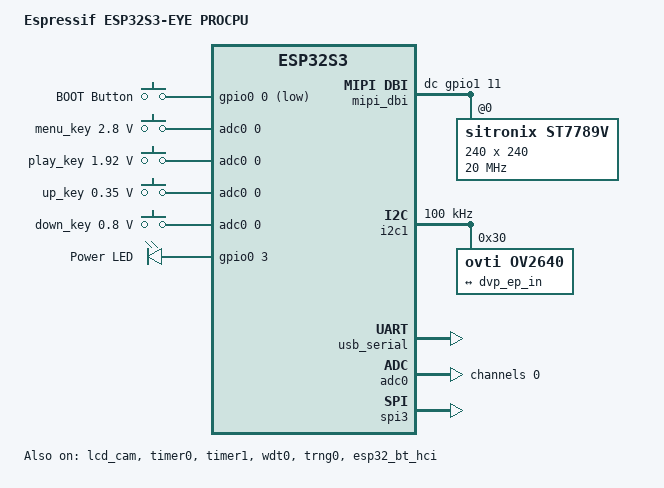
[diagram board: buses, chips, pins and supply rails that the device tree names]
/*
 * Copyright (c) 2024 Espressif Systems (Shanghai) Co., Ltd.
 *
 * SPDX-License-Identifier: Apache-2.0
 */
/dts-v1/;

#include "espressif/esp32s3/esp32s3_wroom_n8r8.dtsi"
#include "esp32s3_eye-pinctrl.dtsi"
#include <zephyr/dt-bindings/input/input-event-codes.h>
#include <zephyr/dt-bindings/input/esp32-touch-sensor-input.h>
#include <zephyr/dt-bindings/mipi_dbi/mipi_dbi.h>
#include <espressif/partitions_0x0_amp.dtsi>

/ {
	model = "Espressif ESP32S3-EYE PROCPU";
	compatible = "espressif,esp32s3";

	aliases {
		i2c-0 = &i2c0;
		watchdog0 = &wdt0;
		sw0 = &button0;
		led0 = &green_led;
	};

	chosen {
		zephyr,sram = &sram0;
		zephyr,console = &usb_serial;
		zephyr,shell-uart = &usb_serial;
		zephyr,flash = &flash0;
		zephyr,code-partition = &slot0_partition;
		zephyr,bt-hci = &esp32_bt_hci;
		zephyr,display = &st7789v;
		zephyr,camera = &lcd_cam;
	};

	buttons {
		compatible = "gpio-keys";
		button0: button_0 {
			gpios = <&gpio0 0 (GPIO_PULL_UP | GPIO_ACTIVE_LOW)>;
			label = "BOOT Button";
			zephyr,code = <INPUT_KEY_0>;
		};
	};

	adc-keys {
		compatible = "adc-keys";
		io-channels = <&adc0 0>;
		keyup-threshold-mv = <3300>;
		sample-period-ms = <50>;

		menu_key {
			press-thresholds-mv = <2800>;
			zephyr,code = <INPUT_KEY_MENU>;
		};

		play_key {
			press-thresholds-mv = <1920>;
			zephyr,code = <INPUT_KEY_PLAY>;
		};

		up_key {
			press-thresholds-mv = <350>;
			zephyr,code = <INPUT_KEY_UP>;
		};

		down_key {
			press-thresholds-mv = <800>;
			zephyr,code = <INPUT_KEY_DOWN>;
		};
	};

	leds {
		compatible = "gpio-leds";
		green_led: led0 {
			gpios =  <&gpio0 3 GPIO_OPEN_DRAIN>;
			label = "Power LED";
		};
	};

	mipi_dbi {
		compatible = "zephyr,mipi-dbi-spi";
		dc-gpios = <&gpio1 11 GPIO_ACTIVE_HIGH>;
		spi-dev = <&spi3>;
		write-only;
		#address-cells = <1>;
		#size-cells = <0>;

		st7789v: st7789v@0 {
			compatible = "sitronix,st7789v";
			mipi-max-frequency = <20000000>;
			reg = <0>;
			width = <240>;
			height = <240>;
			x-offset = <0>;
			y-offset = <0>;
			vcom = <0x19>;
			gctrl = <0x35>;
			vrhs = <0x12>;
			vdvs = <0x20>;
			mdac = <0x00>;
			gamma = <0x01>;
			colmod = <0x55>;
			lcm = <0x2c>;
			porch-param = [0c 0c 00 33 33];
			cmd2en-param = [5a 69 02 01];
			pwctrl1-param = [a4 a1];
			pvgam-param = [D0 04 0D 11 13 2B 3F 54 4C 18 0D 0B 1F 23];
			nvgam-param = [D0 04 0C 11 13 2C 3F 44 51 2F 1F 1F 20 23];
			ram-param = [00 F0];
			rgb-param = [CD 08 14];
			mipi-mode = "MIPI_DBI_MODE_SPI_4WIRE";
		};
	};
};

&dma {
	status = "okay";
};

&i2c1 {
	status = "okay";
	clock-frequency = <I2C_BITRATE_STANDARD>;
	pinctrl-0 = <&i2c1_default>;
	pinctrl-names = "default";
	ov2640: ov2640@30 {
			compatible = "ovti,ov2640";
			reg = <0x30>;
			status = "okay";
			clock-rate-control = <0x80>;
			port {
					ov2640_ep_out: endpoint {
							remote-endpoint = <&dvp_ep_in>;
					};
			};
	};
};

&lcd_cam {
	status = "okay";
	cam-clk = < 10000000 >;
	pinctrl-0 = <&lcd_cam_default>;
	pinctrl-names = "default";
	source = <&ov2640>;
	dmas = <&dma 2>;
	dma-names = "rx";
	port {
			dvp_ep_in: endpoint {
					remote-endpoint = <&ov2640_ep_out>;
			};
	};
};

&usb_serial {
	status = "okay";
};

&timer0 {
	status = "okay";
};

&timer1 {
	status = "okay";
};

&gpio0 {
	status = "okay";
};

&gpio1 {
	status = "okay";
};

&adc0 {
	status = "okay";
	#address-cells = <1>;
	#size-cells = <0>;

	channel@0 {
		reg = <0>;
		zephyr,gain = "ADC_GAIN_1_4";
		zephyr,reference = "ADC_REF_INTERNAL";
		zephyr,acquisition-time = <ADC_ACQ_TIME_DEFAULT>;
		zephyr,resolution = <12>;
	};
};

&spi3 {
	#address-cells = <1>;
	#size-cells = <0>;
	status = "okay";
	pinctrl-0 = <&spim3_default>;
	pinctrl-names = "default";
};

&wdt0 {
	status = "okay";
};

&trng0 {
	status = "okay";
};

&esp32_bt_hci {
	status = "okay";
};
